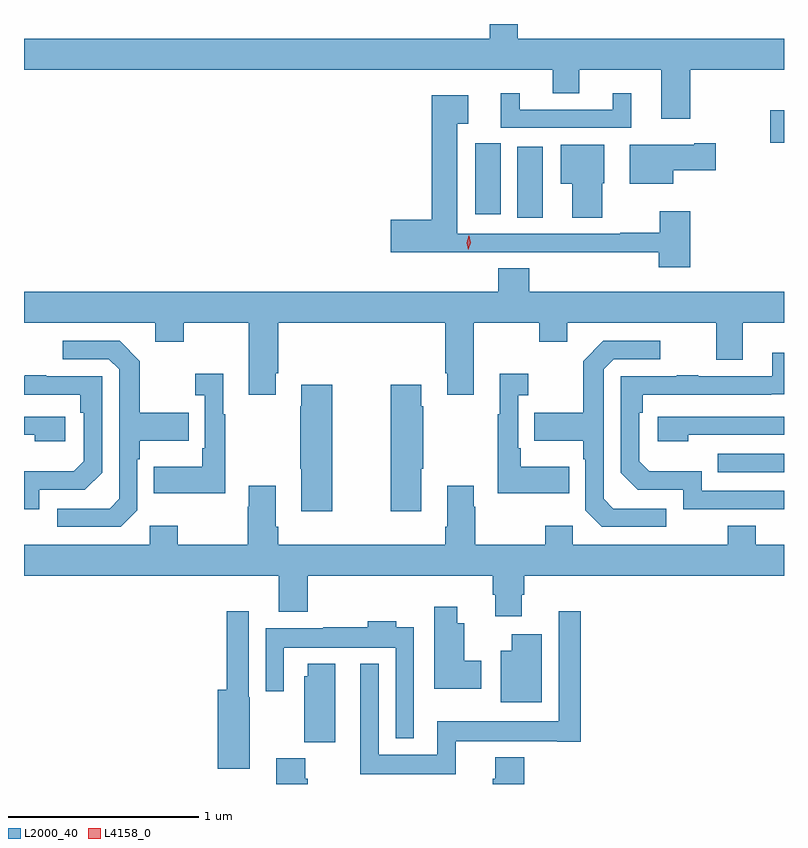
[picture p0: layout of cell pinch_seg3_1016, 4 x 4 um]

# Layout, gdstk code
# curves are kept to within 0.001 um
import gdstk
lib = gdstk.Library(unit=1e-6, precision=1e-09)
def R(c, l, rs):  # rectangles x0, y0, x1, y1
    for r in rs: c.add(gdstk.rectangle(r[:2], r[2:], *l))
def P(c, l, *ps):  # polygons
    for p in ps: c.add(gdstk.Polygon(p, *l))
L2000_40 = (2000, 40)
L4158_0 = (4158, 0)

pinch_seg3_1016 = lib.new_cell('pinch_seg3_1016')
R(pinch_seg3_1016, L2000_40, [(617.071,668.163,617.419,668.259), (616.016,669.502,616.15,669.874), (615.794,669.519,615.928,669.894), (617.346,669.896,617.419,670.066)])
P(pinch_seg3_1016, L2000_40, [(616.925,670.28),(617.419,670.28),(617.419,670.444),(616.017,670.444),(616.017,670.521),(615.869,670.521),(615.869,670.444),(613.419,670.444),(613.419,670.28),(616.202,670.28),(616.202,670.156),(616.342,670.156),(616.342,670.28),(616.772,670.28),(616.772,670.023),(616.925,670.023)],
  [(616.615,670.156),(616.517,670.156),(616.517,670.071),(616.027,670.071),(616.027,670.156),(615.929,670.156),(615.929,669.975),(616.615,669.975)],
  [(616.925,669.535),(616.765,669.535),(616.765,669.422),(616.558,669.422),(616.558,669.417),(615.7,669.417),(615.7,669.995),(615.757,669.995),(615.757,670.147),(615.566,670.147),(615.566,669.491),(615.348,669.491),(615.348,669.32),(615.796,669.32),(615.796,669.321),(616.162,669.321),(616.162,669.32),(616.76,669.32),(616.76,669.24),(616.925,669.24)],
  [(616.837,669.752),(617.059,669.752),(617.059,669.894),(616.946,669.894),(616.946,669.886),(616.607,669.886),(616.607,669.68),(616.837,669.68)],
  [(616.462,669.684),(616.474,669.684),(616.474,669.886),(616.244,669.886),(616.244,669.68),(616.304,669.68),(616.304,669.502),(616.462,669.502)],
  [(616.079,669.236),(615.914,669.236),(615.914,669.112),(613.419,669.112),(613.419,668.948),(614.111,668.948),(614.111,668.849),(614.259,668.849),(614.259,668.948),(614.603,668.948),(614.603,668.571),(614.743,668.571),(614.743,668.683),(614.756,668.683),(614.756,668.948),(615.635,668.948),(615.635,668.683),(615.647,668.683),(615.647,668.571),(615.787,668.571),(615.787,668.948),(616.132,668.948),(616.132,668.849),(616.279,668.849),(616.279,668.948),(617.063,668.948),(617.063,668.754),(617.203,668.754),(617.203,668.948),(617.419,668.948),(617.419,669.112),(616.079,669.112)],
  [(616.798,667.971),(616.521,667.971),(616.47,668.022),(616.47,668.703),(616.524,668.757),(616.768,668.757),(616.768,668.853),(616.467,668.853),(616.362,668.747),(616.362,668.475),(616.105,668.475),(616.105,668.327),(616.362,668.327),(616.362,668.231),(616.374,668.231),(616.374,667.962),(616.461,667.875),(616.798,667.875)],
  [(614.016,667.962),(614.016,668.231),(614.029,668.231),(614.029,668.327),(614.285,668.327),(614.285,668.475),(614.029,668.475),(614.029,668.747),(613.923,668.853),(613.623,668.853),(613.623,668.757),(613.866,668.757),(613.92,668.703),(613.92,668.022),(613.869,667.971),(613.593,667.971),(613.593,667.875),(613.929,667.875)],
  [(617.419,668.064),(616.986,668.064),(616.986,668.167),(616.709,668.167),(616.656,668.22),(616.656,668.474),(616.676,668.474),(616.676,668.571),(617.419,668.572),(617.419,668.791),(617.357,668.791),(617.357,668.667),(616.967,668.667),(616.967,668.672),(616.855,668.672),(616.855,668.667),(616.56,668.667),(616.56,668.16),(616.65,668.07),(616.89,668.07),(616.89,667.968),(617.419,667.968)],
  [(616.289,668.191),(616.033,668.191),(616.033,668.287),(616.02,668.287),(616.02,668.567),(616.072,668.567),(616.072,668.68),(615.923,668.68),(615.923,668.467),(615.912,668.467),(615.912,668.051),(616.289,668.051)],
  [(614.479,668.467),(614.467,668.467),(614.467,668.68),(614.319,668.68),(614.319,668.567),(614.37,668.567),(614.37,668.287),(614.358,668.287),(614.358,668.191),(614.101,668.191),(614.101,668.051),(614.479,668.051)],
  [(613.5,668.07),(613.74,668.07),(613.83,668.16),(613.83,668.667),(613.535,668.667),(613.535,668.672),(613.423,668.672),(613.423,668.667),(613.419,668.667),(613.419,668.571),(613.714,668.571),(613.714,668.474),(613.734,668.474),(613.734,668.22),(613.681,668.167),(613.419,668.167),(613.419,667.968),(613.5,667.968)],
  [(615.511,668.179),(615.519,668.179),(615.519,668.51),(615.511,668.51),(615.511,668.623),(615.349,668.623),(615.349,667.956),(615.511,667.956)],
  [(615.042,668.623),(614.879,668.623),(614.879,668.51),(614.872,668.51),(614.872,668.179),(614.879,668.179),(614.879,667.956),(615.042,667.956)],
  [(613.636,668.454),(613.419,668.454),(613.419,668.358),(613.475,668.358),(613.475,668.324),(613.636,668.324)],
  [(616.916,668.358),(617.419,668.358),(617.419,668.454),(616.755,668.454),(616.755,668.324),(616.916,668.324)],
  [(615.647,668.092),(615.647,667.876),(615.635,667.876),(615.635,667.78),(614.756,667.78),(614.756,667.876),(614.743,667.876),(614.743,668.092),(614.603,668.092),(614.603,667.979),(614.596,667.979),(614.596,667.78),(614.229,667.78),(614.229,667.879),(614.082,667.879),(614.082,667.78),(613.419,667.78),(613.419,667.616),(614.759,667.616),(614.759,667.427),(614.912,667.427),(614.912,667.616),(615.887,667.616),(615.887,667.518),(615.899,667.518),(615.899,667.404),(616.039,667.404),(616.039,667.518),(616.052,667.518),(616.052,667.616),(617.419,667.616),(617.419,667.78),(617.269,667.78),(617.269,667.879),(617.122,667.879),(617.122,667.78),(616.308,667.78),(616.308,667.879),(616.162,667.879),(616.162,667.78),(615.795,667.78),(615.795,667.979),(615.787,667.979),(615.787,668.092)],
  [(615.826,667.17),(615.736,667.17),(615.736,667.366),(615.7,667.366),(615.7,667.453),(615.578,667.453),(615.578,667.022),(615.826,667.022)],
  [(614.608,666.978),(614.601,666.978),(614.601,667.429),(614.485,667.429),(614.485,667.018),(614.438,667.018),(614.438,666.602),(614.608,666.602)],
  [(615.692,666.746),(616.226,666.746),(616.226,666.744),(616.349,666.744),(616.349,667.429),(616.233,667.429),(616.233,666.85),(615.594,666.85),(615.594,666.676),(615.285,666.676),(615.285,667.153),(615.188,667.153),(615.188,666.572),(615.692,666.572)],
  [(615.471,667.345),(615.379,667.345),(615.379,667.378),(615.227,667.378),(615.227,667.345),(614.995,667.345),(614.995,667.342),(614.691,667.342),(614.691,667.008),(614.787,667.008),(614.787,667.238),(615.375,667.238),(615.375,666.761),(615.471,666.761)],
  [(616.144,667.309),(615.986,667.309),(615.986,667.222),(615.929,667.222),(615.929,666.95),(616.144,666.95)],
  [(615.058,667.153),(614.912,667.153),(614.912,667.089),(614.894,667.089),(614.894,666.742),(615.058,666.742)],
  [(616.052,666.661),(615.899,666.661),(615.899,666.549),(615.887,666.549),(615.887,666.521),(616.052,666.521)],
  [(614.912,666.548),(614.899,666.548),(614.899,666.657),(614.747,666.657),(614.747,666.521),(614.912,666.521)])
P(pinch_seg3_1016, L4158_0, [(615.758,669.334),(615.758,669.334),(615.75,669.371),(615.761,669.406),(615.761,669.406),(615.762,669.406),(615.77,669.37),(615.758,669.334)])

lib.write_gds('pinch_seg3_1016.gds')
